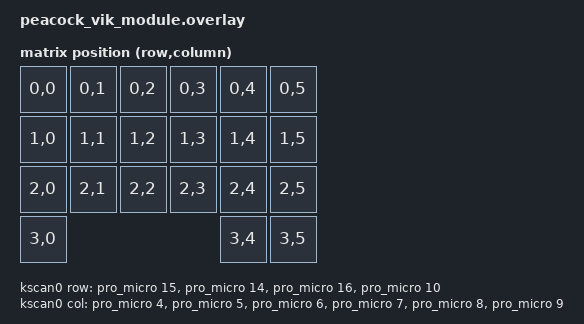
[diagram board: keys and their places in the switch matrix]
/*
 * Copyright (c) 2024 Pete Johanson
 *
 * SPDX-License-Identifier: MIT
 */

#include <dt-bindings/zmk/matrix_transform.h> 

/ {
    chosen {
        // zmk,physical-layout = &physical_layout0;
        zmk,kscan = &kscan0;
        zmk,matrix-transform = &default_transform;
    };

    // physical_layout0: physical_layout_0 { // First physical layout, use different naming for other layouts
    //     compatible = "zmk,physical-layout";
    //     display-name = "Default Layout";
    //     kscan = <&kscan0>; // Label of the kscan node, optional if all layouts use the same
    //     transform = <&default_transform>; // Label of the matrix transform for this layout
    // };

    kscan0: kscan_0 {
        compatible = "zmk,kscan-gpio-matrix";
        diode-direction = "col2row";
        wakeup-source;

        col-gpios = <&pro_micro 4 GPIO_ACTIVE_HIGH>,
                    <&pro_micro 5 GPIO_ACTIVE_HIGH>,
                    <&pro_micro 6 GPIO_ACTIVE_HIGH>,
                    <&pro_micro 7 GPIO_ACTIVE_HIGH>,
                    <&pro_micro 8 GPIO_ACTIVE_HIGH>,
                    <&pro_micro 9 GPIO_ACTIVE_HIGH>;

        row-gpios = <&pro_micro 15 (GPIO_ACTIVE_HIGH | GPIO_PULL_DOWN)>,
                    <&pro_micro 14 (GPIO_ACTIVE_HIGH | GPIO_PULL_DOWN)>,
                    <&pro_micro 16 (GPIO_ACTIVE_HIGH | GPIO_PULL_DOWN)>,
                    <&pro_micro 10 (GPIO_ACTIVE_HIGH | GPIO_PULL_DOWN)>;
    };

    default_transform: keymap_transform_0 {
        compatible = "zmk,matrix-transform";
        rows = <4>;
        columns = <6>;

        map = <
            RC(0,0) RC(0,1) RC(0,2) RC(0,3) RC(0,4) RC(0,5)
            RC(1,0) RC(1,1) RC(1,2) RC(1,3) RC(1,4) RC(1,5)
            RC(2,0) RC(2,1) RC(2,2) RC(2,3) RC(2,4) RC(2,5)
            RC(3,0)                         RC(3,4) RC(3,5)
        >;
    };

    trackpad_listener {
		compatible = "zmk,input-listener";
		mode = "trackpad";
		device = <&trackpad>;
	};

};

&pro_micro_i2c {
	status = "okay";

	trackpad: iqs5xx@74 {
        status = "okay";
        compatible = "azoteq,iqs5xx";
        reg = <0x74>;

        one-finger-tap;
        press-and-hold;
        press-and-hold-time = <200>;
        two-finger-tap;

        scroll;
        natural-scroll-y;
        natural-scroll-x;
        palm_rejection;

		resolution_x = <2560>;
  		resolution_y = <2560>;

        bottom-beta = <5>;
        stationary-threshold = <5>;

        switch-xy;

        reset-gpios = <&pro_micro 18 GPIO_ACTIVE_LOW>; /* P0.10 */
        rdy-gpios = <&pro_micro 19 GPIO_ACTIVE_HIGH>; /* P1.11 */
    };
};

